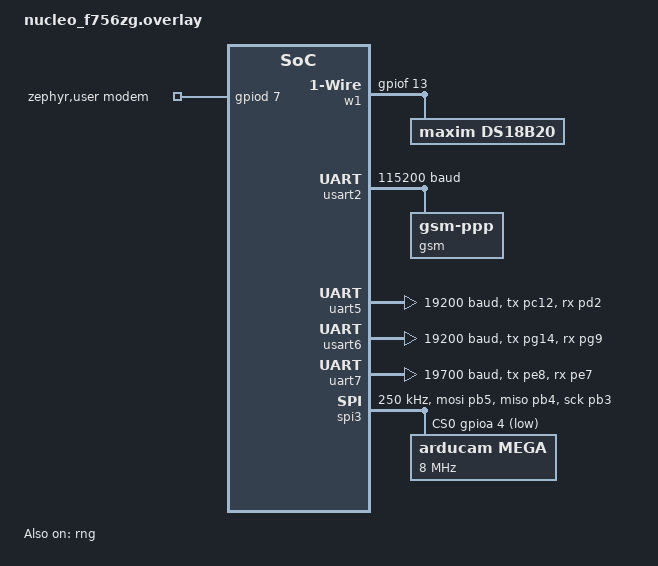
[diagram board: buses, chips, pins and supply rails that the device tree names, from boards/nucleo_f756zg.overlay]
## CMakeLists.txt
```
# SPDX-License-Identifier: Apache-2.0

cmake_minimum_required(VERSION 3.20.0)
find_package(Zephyr REQUIRED HINTS $ENV{ZEPHYR_BASE})
project(zapdos)

#include(${ZEPHYR_BASE}/samples/subsys/usb/common/common.cmake)
#include(./arducam/CMakeLists.txt)
file(GLOB_RECURSE app_sources src/*.c)
target_sources(app PRIVATE ${app_sources})
```

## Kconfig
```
source "$ZEPHYR_BASE/Kconfig"
menuconfig ARDUCAM_MEGA
	   bool "Arducam Mega camera for microcontrollers"
	   depends on SPI && GPIO
	   help
		Enable driver for Arducam Mega camera.
```

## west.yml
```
# Example T2 west.yml, using manifest imports.
manifest:
  remotes:
    - name: zephyrproject-rtos
      url-base: https://github.com/zephyrproject-rtos
    - name: mmuenn
      url-base: https://github.com/mmuenn
  projects:
    - name: zephyr
      remote: zephyrproject-rtos
      revision: main
      import: west.yml
    #- name: arducam-driver-zephyr
    #  remote: mmuenn
    #  revision: main
    #      path: app/arducam
  self:
    path: zapdos
```

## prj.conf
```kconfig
## USB CONSOLE
CONFIG_LOG=y
#CONFIG_USB_DEVICE_STACK=y
#CONFIG_USB_DEVICE_PRODUCT="Zephyr USB console sample"
#CONFIG_USB_DEVICE_PID=0x0004
#CONFIG_USB_DEVICE_INITIALIZE_AT_BOOT=n

#CONFIG_SERIAL=y
#CONFIG_CONSOLE=y
#CONFIG_UART_CONSOLE=y
#CONFIG_UART_LINE_CTRL=y
## Arducam
CONFIG_SPI=y
CONFIG_SPI_STM32_USE_HW_SS=n
CONFIG_GPIO=y
CONFIG_ARDUCAM_MEGA=y
CONFIG_BASE64=y
## Memory
CONFIG_HEAP_MEM_POOL_SIZE=8000
CONFIG_MAIN_STACK_SIZE=4096
CONFIG_REBOOT=y

# NETWORK
CONFIG_NETWORKING=y
CONFIG_TEST_RANDOM_GENERATOR=y

#CONFIG_NET_TX_STACK_SIZE=1024
#CONFIG_NET_RX_STACK_SIZE=1024
#CONFIG_POSIX_MAX_FDS=10
##CONFIG_NET_BUF_RX_COUNT=32
#CONFIG_NET_BUF_TX_COUNT=32
#CONFIG_NET_PKT_RX_COUNT=16
#CONFIG_NET_PKT_TX_COUNT=16

CONFIG_NET_MAX_CONTEXTS=4
CONFIG_NET_IPV4=y
CONFIG_NET_IPV6=n
CONFIG_NET_TCP=y
CONFIG_NET_LOG=y
CONFIG_INIT_STACKS=y
CONFIG_NET_STATISTICS=y
CONFIG_LOG_BACKEND_UART=n
CONFIG_NET_SOCKETS=y

## DNS
CONFIG_DNS_RESOLVER=y
CONFIG_DNS_SERVER_IP_ADDRESSES=y
CONFIG_DNS_SERVER1="8.8.8.8"
CONFIG_DNS_SERVER2="1.1.1.1"

## SNTP
CONFIG_SNTP=y
CONFIG_NET_CONFIG_CLOCK_SNTP_INIT=y
CONFIG_NET_CONFIG_SNTP_INIT_TIMEOUT=60000
CONFIG_NET_CONFIG_SNTP_INIT_SERVER="192.53.103.108"
CONFIG_SNTP_LOG_LEVEL_DBG=n
CONFIG_POSIX_CLOCK=y

## POSIX
CONFIG_REQUIRES_FULL_LIBC=y
CONFIG_POSIX_API=y
CONFIG_POSIX_MAX_FDS=8

## RTC
CONFIG_RTC=y
CONFIG_RTC_ALARM=y

## MQTT
CONFIG_MQTT_LIB=y
CONFIG_MQTT_LIB_TLS=y

# TLS configuration
CONFIG_MBEDTLS=y
CONFIG_MBEDTLS_BUILTIN=y
CONFIG_MBEDTLS_ENABLE_HEAP=y
CONFIG_MBEDTLS_HEAP_SIZE=32000
CONFIG_MBEDTLS_SSL_MAX_CONTENT_LEN=2048
CONFIG_NET_SOCKETS_SOCKOPT_TLS=y
CONFIG_NET_SOCKETS_TLS_MAX_CONTEXTS=4
CONFIG_NET_SOCKETS_ENABLE_DTLS=y
CONFIG_POSIX_MAX_FDS=8

## Shell features
CONFIG_MBEDTLS_SHELL=y
CONFIG_NET_SHELL=y
CONFIG_NET_L2_WIFI_SHELL=y
CONFIG_SHELL_LOG_BACKEND=y
CONFIG_W1_SHELL=y

## 1-Wire
CONFIG_SENSOR=y
CONFIG_W1=y
##CONFIG_W1_ZEPHYR_GPIO=y
CONFIG_DS18B20=y

CONFIG_ENTROPY_STM32_RNG=y

##########################################################MODEM
# UART support
CONFIG_SERIAL=y

# GSM modem support
CONFIG_MODEM=y
CONFIG_MODEM_SIM_NUMBERS=n
CONFIG_MODEM_GSM_PPP=y

# PPP networking support
CONFIG_NET_DRIVERS=y
CONFIG_NET_PPP=y
CONFIG_NET_L2_PPP=y
CONFIG_NET_NATIVE=y
CONFIG_NETWORKING=y
CONFIG_NET_L2_PPP_TIMEOUT=10000

# IPv4 enables PPP IPCP support
CONFIG_NET_IPV4=y
CONFIG_NET_IPV6=n

# Network management events
CONFIG_NET_CONNECTION_MANAGER=y

# Log buffers, modem and PPP
CONFIG_LOG=y
CONFIG_NET_LOG=y

CONFIG_MODEM_SHELL=y
CONFIG_NET_STATISTICS=y
CONFIG_TEST_RANDOM_GENERATOR=y
CONFIG_GSM_MUX=n
CONFIG_UART_MUX=n
CONFIG_MODEM_GSM_APN="internet"
CONFIG_MAIN_STACK_SIZE=8192
CONFIG_NET_MGMT_EVENT_INFO=y
CONFIG_NET_MGMT_EVENT_MONITOR=y
CONFIG_NET_MGMT_EVENT_MONITOR_AUTO_START=y
CONFIG_NET_LOG=y
CONFIG_NET_MGMT_EVENT_LOG_LEVEL_DBG=y
```

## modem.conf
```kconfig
# UART support
CONFIG_SERIAL=y

# GSM modem support
CONFIG_MODEM=y
CONFIG_MODEM_SIM_NUMBERS=n
CONFIG_MODEM_GSM_PPP=y

# PPP networking support
CONFIG_NET_DRIVERS=y
CONFIG_NET_PPP=y
CONFIG_NET_L2_PPP=y
CONFIG_NET_NATIVE=y
CONFIG_NETWORKING=y
CONFIG_NET_L2_PPP_TIMEOUT=10000

# IPv4 enables PPP IPCP support
CONFIG_NET_IPV4=y
CONFIG_NET_IPV6=n

# Network management events
CONFIG_NET_CONNECTION_MANAGER=y

# Log buffers, modem and PPP
CONFIG_LOG=y
CONFIG_NET_LOG=y

CONFIG_MODEM_SHELL=y
CONFIG_NET_STATISTICS=y
CONFIG_TEST_RANDOM_GENERATOR=y
CONFIG_GSM_MUX=n
CONFIG_UART_MUX=n
CONFIG_MODEM_GSM_APN="internet"
CONFIG_MAIN_STACK_SIZE=8192
CONFIG_NET_MGMT_EVENT_INFO=y
CONFIG_NET_MGMT_EVENT_MONITOR=y
CONFIG_NET_MGMT_EVENT_MONITOR_AUTO_START=y
CONFIG_NET_LOG=y
CONFIG_NET_MGMT_EVENT_LOG_LEVEL_DBG=y
```

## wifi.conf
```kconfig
# WIFI
CONFIG_WIFI=y
CONFIG_WIFI_ESP_AT=y
CONFIG_WIFI_ESP_AT_RESET_TIMEOUT=10000
CONFIG_WIFI_LOG_LEVEL_DBG=n
CONFIG_NET_IF_LOG_LEVEL_DBG=y
CONFIG_NET_STATISTICS_WIFI=y
CONFIG_NET_STATISTICS_PERIODIC_OUTPUT=y
CONFIG_NET_STATISTICS_USER_API=y
CONFIG_NET_DHCPV4=y
```

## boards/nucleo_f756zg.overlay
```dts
/* USE USART 3 FOR CONSOLE
 * 
 */
/ { 
    chosen {
      zephyr,console = &usart3;
      zephyr,shell-uart = &usart3;
    };
  };
/ { 
      zephyr,user {
          modem-gpios = <&gpiod 7 GPIO_ACTIVE_HIGH> ;
      };
  };
/*
 * USE USART2 FOR GSM MODEM
 */
&usart2 {
	status = "okay";
	current-speed = <115200>;
	gsm: gsm-modem {
		compatible = "zephyr,gsm-ppp";
	};
};
/*
 * FOR ESP WFI
 * &usart2 {
 * compatible = "st,stm32-uart";
 * status = "okay";
 * current-speed = <115200>;
 *   esp8266{
 *       compatible = "espressif,esp-at";
 *       external-reset;
 *       label = "esp8266";
 *       status = "okay";
 *   };
 * };
*/
&uart5 {
  pinctrl-0 = <&uart5_tx_pc12 &uart5_rx_pd2>;
  pinctrl-names = "default";
  current-speed = <19200>;
  status = "okay";
};
&usart6 {
  pinctrl-0 = <&usart6_tx_pg14 &usart6_rx_pg9>;
  pinctrl-names = "default";
  current-speed = <19200>;
  status = "okay";
};
&uart7 {
  pinctrl-0 = <&uart7_tx_pe8 &uart7_rx_pe7>;
  pinctrl-names = "default";
  current-speed = <19700>;
  status = "okay";
};
/*
 * WITHOUT HSE
 *&pll {
 *  clocks = < &clk_hsi >;
 *};
 *&clk_hsi{
 *status = "okay";
 *};
 *&clk_hse{
 *  status = "disabled";
 *};
*/



/ {
  w1: w1 {
    compatible = "zephyr,w1-gpio";
    gpios = <&gpiof 13 (GPIO_ACTIVE_HIGH | GPIO_OPEN_DRAIN)>;
    ds18b20 {
      compatible = "maxim,ds18b20";
      family-code = <0x28>;
      resolution = <12>;
      status = "okay";
    };
  };
};
&spi1{
  cs-gpios = <&gpiod 14 GPIO_ACTIVE_LOW>;
  clock-frequency = <8000000>;
  pinctrl-names = "default";
  pinctrl-0 = <&spi1_miso_pa6 &spi1_sck_pa5 &spi1_mosi_pa7 >;
  status = "disabled";
};
&spi3{
  clock-frequency = <250000>;
  cs-gpios = <&gpioa 4 GPIO_ACTIVE_LOW>;
  pinctrl-0 = <&spi3_mosi_pb5 &spi3_miso_pb4 &spi3_sck_pb3>;
  pinctrl-names = "default";
  status="okay";
  arducam: arducam_mega@0 {
    spi-max-frequency = <8000000>;
    compatible = "arducam,mega";
    reg = <0x0>;
  };
};
&rng {
  compatible = "st,stm32-rng";
  status = "okay";
};
&mac {
  compatible = "st,stm32-ethernet";
  status = "disabled";
};
```

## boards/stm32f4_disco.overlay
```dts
&usart1 {
  compatible = "st,stm32-uart";
  status = "okay";
  current-speed = <115200>;
    esp8266{
        compatible = "espressif,esp-at";
        external-reset;
        label = "esp8266";
        status = "okay";
	};
};
/ {
      w1: w1 {
                compatible = "zephyr,w1-gpio";
                gpios = <&gpioc 13 (GPIO_ACTIVE_HIGH | GPIO_OPEN_DRAIN)>;
                ds18b20 {
                  compatible = "maxim,ds18b20";
                  family-code = <0x28>;
                  resolution = <12>;
                  status = "okay";
                };
      };
};
```

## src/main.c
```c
// #include <stdio.h>
#include <string.h>
#include <sys/_stdint.h>
#include <zephyr/device.h>
#include <zephyr/drivers/sensor.h>
#include <zephyr/kernel.h>
#include <zephyr/logging/log.h>
#include <zephyr/sys/base64.h>
#include <zephyr/sys/printk.h>
#include <zephyr/sys/reboot.h>
#include <zephyr/sys/util.h>

#include "arducam_mega.h"
// #include "mm_config.h"
#include "devices/mm_ds18b20.h"
#include "net/mm_modem.h"
#include "net/mm_mqtt.h"
#include "net/mm_sntp.h"
// #include "net/mm_wifi.h"
#include "uart.h"
#include "zephyr/logging/log.h"
LOG_MODULE_REGISTER(main);

// Define Message queue for 10 Messages of size 1024 Byte
K_MSGQ_DEFINE(mqtt_msgq, sizeof(struct mqtt_payload), 10, 1);
// Define Heap for image Storage
K_HEAP_DEFINE(mqtt_heap, 140000);
void print_logo() {
  printk("\n");
  printk(" _   _ _______        ___  __\n");
  printk("| | | |_   _\\ \\      / / |/ /\n");
  printk("| |_| | | |  \\ \\ /\\ / /| ' / \n");
  printk("|  _  | | |   \\ V  V / | . \\ \n");
  printk("|_| |_| |_|    \\_/\\_/  |_|\\_\\\n");
  printk("\n");
  printk("__     _____ ____ _____ ____   ___  _   _   ____    __  __  ___ "
         "_____ _____ \n");
  printk("\\ \\   / /_ _/ ___|_   _|  _ \\ / _ \\| \\ | | |___ \\  |  \\/  |/ "
         "_ \\_   _|_   _|\n");
  printk(" \\ \\ / / | | |     | | | |_) | | | |  \\| |   __) | | |\\/| | | | "
         "|| |   | |  \n");
  printk("  \\ V /  | | |___  | | |  _ <| |_| | |\\  |  / __/  | |  | | |_| || "
         "|   | |  \n");
  printk("   \\_/  |___\\____| |_| |_| \\_\\\\___/|_| \\_| |_____| |_|  "
         "|_|\\__\\_\\|_|   |_|  \n");
  printk("\n");
}

void init_board() {
  modem_init();
  //  wifi_init();
  //  init_usb();
  arducam_mega_init();
  // arducam_mega_get_id();
  // arducam_mega_print_info();
  arducam_mega_set_brightness(CAM_BRIGHTNESS_LEVEL_DEFAULT);
  arducam_mega_set_contrast(CAM_CONTRAST_LEVEL_DEFAULT);
  // wait for modem to come up
  k_sleep(K_SECONDS(5));
  get_sntp_time_ip(SNTP_SERVER_IP);
}

int main(void) {
  struct mqtt_payload payload = {.data = NULL, .size = 0, .topic = ""};
  init_board();
  // Get thermometer dev
  const struct device *dev = get_ds18b20_device();
  //
  k_sleep(K_SECONDS(5));
  // Victron example
  char buff[512];
  uart_main(buff, 512);
  printk("%s", buff);
  payload.data = buff;
  payload.size = strlen(buff);
  payload.topic = "victron";
  k_sleep(K_SECONDS(1));
  k_msgq_put(&mqtt_msgq, &payload, K_FOREVER);
  run_mqtt(&mqtt_msgq);
  printk("init done \n");
  printk("taking image\n");
  k_sleep(K_MSEC(300));
  int img_size = 0;
  img_size =
      arducam_mega_capture_image(CAM_IMAGE_MODE_HD, CAM_IMAGE_PIX_FMT_JPG);
  printk("took image %d bytes\n", img_size);
  uint8_t *buf = k_heap_alloc(&mqtt_heap, img_size, K_FOREVER);
  if (buf == NULL) {
    LOG_ERR("Error allocating Memory\n");
  }
  for (int i = 0; i < (img_size); i++) {
    buf[i] = camera_read_byte();
  };
  printk("fetched raw image\n");
  // optional: bas64 encode image
  /*size_t dlen = 0;
  size_t olen = 0;
  int b64_ret = base64_encode(NULL, dlen, &olen, buf, img_size);
  printk("Encoded string needs %d bytes\n", olen);
  // set new destination size to what would be needed for the b64 encoded string
  dlen = olen;
  uint8_t *b64_buf = k_heap_alloc(&img_heap, olen, K_FOREVER);
  // encode to b64_buf
  b64_ret = base64_encode(b64_buf, dlen, &olen, buf, img_size);
  printk("Error code: %d", b64_ret);
  struct mqtt_payload payload = {
      .data = b64_buf, .size = olen, .topic = "image__1234"};
 */
  k_msgq_put(&mqtt_msgq, &payload, K_FOREVER);
  run_mqtt(&mqtt_msgq);
  k_heap_free(&mqtt_heap, payload.data);

  // fetch temperature data
  struct sensor_value temp;
  sensor_sample_fetch(dev);
  sensor_channel_get(dev, SENSOR_CHAN_AMBIENT_TEMP, &temp);
  char temp_string[32];
  sprintf(temp_string, "{\n\"temperature\": %d.%d\n}", temp.val1, temp.val2);
  payload.data = temp_string;
  payload.size = strlen(temp_string);
  payload.topic = "temperature";

  k_msgq_put(&mqtt_msgq, &payload, K_FOREVER);
  run_mqtt(&mqtt_msgq);

  k_sleep(K_SECONDS(1));

  // Reboot
  printk("rebooting in 15 minutes\n");
  k_sleep(K_MINUTES(15));
  sys_reboot(SYS_REBOOT_COLD);
}
```

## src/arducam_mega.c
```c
/* MIT License */

/* Copyright (c) [year] [fullname] */

/* Permission is hereby granted, free of charge, to any person obtaining a copy
 */
/* of this software and associated documentation files (the "Software"), to deal
 */
/* in the Software without restriction, including without limitation the rights
 */
/* to use, copy, modify, merge, publish, distribute, sublicense, and/or sell */
/* copies of the Software, and to permit persons to whom the Software is */
/* furnished to do so, subject to the following conditions: */

/* The above copyright notice and this permission notice shall be included in
 * all */
/* copies or substantial portions of the Software. */

/* THE SOFTWARE IS PROVIDED "AS IS", WITHOUT WARRANTY OF ANY KIND, EXPRESS OR */
/* IMPLIED, INCLUDING BUT NOT LIMITED TO THE WARRANTIES OF MERCHANTABILITY, */
/* FITNESS FOR A PARTICULAR PURPOSE AND NONINFRINGEMENT. IN NO EVENT SHALL THE
 */
/* AUTHORS OR COPYRIGHT HOLDERS BE LIABLE FOR ANY CLAIM, DAMAGES OR OTHER */
/* LIABILITY, WHETHER IN AN ACTION OF CONTRACT, TORT OR OTHERWISE, ARISING FROM,
 */
/* OUT OF OR IN CONNECTION WITH THE SOFTWARE OR THE USE OR OTHER DEALINGS IN THE
 */
/* SOFTWARE. */

#include "arducam_mega.h"
#include <zephyr/device.h>
#include <zephyr/drivers/spi.h>
#include <zephyr/fs/fs.h>
#include <zephyr/internal/syscall_handler.h>
#include <zephyr/logging/log.h>
#include <zephyr/sys/printk.h>
#include <zephyr/types.h>

#define LOG_MODULE_NAME arducam_mega
LOG_MODULE_REGISTER(LOG_MODULE_NAME);
#define MAX_PATH 51200
#define CONCAT_BUFF_LEN 30
#define BUFFER_SIZE 0xff

int received_length;

#define SPI_DEV spi3

#define SPI_DEV_NAME DEVICE_DT_NAME(DT_NODELABEL(SPI_DEV))
struct spi_config spi_cfg = {
    .frequency = DT_PROP(DT_NODELABEL(SPI_DEV), clock_frequency),
    .operation = SPI_HOLD_ON_CS | SPI_OP_MODE_MASTER | SPI_TRANSFER_MSB |
                 SPI_WORD_SET(8) | SPI_LINES_SINGLE,
    .cs = SPI_CS_CONTROL_INIT(DT_NODELABEL(arducam), 0u),
    .slave = 0,
};

const struct device *spi;

uint8_t camera_bus_read(uint8_t address) {
  int ret;
  uint8_t txbuffer[3] = {address, 0, 0};
  uint8_t rxbuffer[3] = {0, 0, 0};
  struct spi_buf spi_rx_buf[1];
  spi_rx_buf[0].buf = rxbuffer;
  spi_rx_buf[0].len = 3;
  struct spi_buf spi_tx_buf[1];
  spi_tx_buf[0].buf = txbuffer;
  spi_tx_buf[0].len = 3;
  const struct spi_buf_set rx_bufs = {spi_rx_buf, 1};
  const struct spi_buf_set tx_bufs = {spi_tx_buf, 1};
  spi_cfg.operation |= SPI_HOLD_ON_CS;
  spi_cfg.operation |= SPI_LOCK_ON;
  ret = spi_transceive(spi, &spi_cfg, &tx_bufs, &rx_bufs);
  spi_release(spi, &spi_cfg);
  return rxbuffer[2];
}

uint8_t camera_read_reg(uint8_t addr) { return camera_bus_read(addr & 0x7F); }

uint8_t camera_bus_write(uint8_t address, uint8_t value) {

  struct spi_buf tx_buf[2];
  tx_buf[0].buf = &address;
  tx_buf[0].len = 1;
  tx_buf[1].buf = &value;
  tx_buf[1].len = 1;
  struct spi_buf_set tx_bufs = {.buffers = tx_buf, .count = 2};
  spi_cfg.operation |= SPI_HOLD_ON_CS;
  spi_cfg.operation |= SPI_LOCK_ON;
  spi_write(spi, &spi_cfg, &tx_bufs);
  k_sleep(K_MSEC(1));
  spi_release(spi, &spi_cfg);
  return 1;
}
void camera_write_reg(uint8_t addr, uint8_t val) {
  camera_bus_write(addr | 0x80, val);
}

void camera_wait_idle() {
  while ((camera_read_reg(CAM_REG_SENSOR_STATE) & 0x03) !=
         CAM_REG_SENSOR_STATE_IDLE) {
    k_sleep(K_MSEC(2));
  }
}

uint8_t camera_get_bit(uint8_t addr, uint8_t bit) {
  uint8_t temp;
  temp = camera_read_reg(addr);
  temp = temp & bit;
  return temp;
}

uint8_t camera_read_byte() { return camera_bus_read(SINGLE_FIFO_READ); }

void camera_save_fifo(const char *base_path, uint32_t length, char *filename) {

  uint8_t imageData = 0, imageDataNext = 0, headFlag = 0;
  unsigned int i = 0;
  uint8_t imageBuff[BUFFER_SIZE] = {0};
  int ret;
  uint8_t sd_write_counts = 0;
  uint8_t file_opened = 0;

  received_length = length;
  char path[MAX_PATH];
  struct fs_file_t file;
  int base = strlen(base_path);

  fs_file_t_init(&file);

  if (base >= (sizeof(path) - CONCAT_BUFF_LEN)) {
    LOG_ERR("Not enough concatenation buffer to create file paths");
    return;
  }

  strncpy(path, base_path, sizeof(path));

  path[base++] = '/';
  path[base] = 0;
  strcat(&path[base], filename);
  while (received_length) {
    imageData = imageDataNext;
    imageDataNext = camera_read_byte();
    if (headFlag == 1) {
      imageBuff[i++] = imageDataNext;
      if (i >= BUFFER_SIZE) {
        ret = fs_write(&file, imageBuff, i);
        sd_write_counts++;
        i = 0;
      }
    }
    if (imageData == 0xff && imageDataNext == 0xd8 && file_opened == 0) {
      ret = fs_open(&file, path, FS_O_CREATE | FS_O_WRITE | FS_O_APPEND);
      if (ret != 0) {
        LOG_ERR("Failed to create file %s %d", path, ret);
        return;
      }
      LOG_INF("Opened file successfully\n");
      file_opened = 1;
      headFlag = 1;
      imageBuff[i++] = imageData;
      imageBuff[i++] = imageDataNext;
    }
    if (imageData == 0xff && imageDataNext == 0xd9) {
      headFlag = 0;
      LOG_INF("Closed file with sd_write_counts %d\n", sd_write_counts);
      fs_write(&file, imageBuff, i);

      fs_close(&file);
      i = 0;
      break;
    }
  }
}

int arducam_mega_capture_image(CAM_IMAGE_MODE mode,
                               CAM_IMAGE_PIX_FMT pixel_format) {

  camera_write_reg(CAM_REG_SENSOR_RESET, CAM_SENSOR_RESET_ENABLE);
  camera_wait_idle();
  printk("first wait done\n");
  // camera_write_reg(0x04, 0x01);
  // camera_write_reg(0x04, 0x02);
  printk("wrote to 0x04 reg\n");
  k_sleep(K_MSEC(600));
  printk("wait for idle\n");
  camera_wait_idle();

  printk("seting format jpg");
  /* Set format JPG */
  camera_write_reg(CAM_REG_FORMAT,
                   CAM_IMAGE_PIX_FMT_JPG); // set the data format
  camera_wait_idle();                      // Wait I2c Idle

  /* Set capture resolution */
  camera_write_reg(CAM_REG_CAPTURE_RESOLUTION, CAM_SET_CAPTURE_MODE | mode);
  camera_wait_idle(); // Wait I2c Idle
  printk("set mode\n");

  /* Clear fifo flags */

  camera_write_reg(ARDUCHIP_FIFO, FIFO_CLEAR_ID_MASK);
  /* Start capture */
  camera_write_reg(ARDUCHIP_FIFO, FIFO_START_MASK);

  while (camera_get_bit(ARDUCHIP_TRIG, CAP_DONE_MASK) == 0)
    ;
  uint32_t len1, len2, len3, length = 0;
  len1 = camera_read_reg(FIFO_SIZE1);
  len2 = camera_read_reg(FIFO_SIZE2);
  len3 = camera_read_reg(FIFO_SIZE3);
  length = ((len3 << 16) | (len2 << 8) | len1) & 0xffffff;
  LOG_INF("Image length is %d\n", length);
  return length;
}
int arducam_mega_save_image(char *filename, const char *mount_point,
                            int image_length) {
  LOG_INF("Saving image\n");
  camera_save_fifo(mount_point, image_length, filename);
  return 0;
}

int arducam_mega_get_id() {
  uint8_t cameraID;
  cameraID = camera_read_reg(CAM_REG_SENSOR_ID);
  LOG_INF("Sensor camera ID is %x\n", cameraID);
  return cameraID;
}

int arducam_mega_init() {
  LOG_INF("Initializing the camera");
  spi = device_get_binding(SPI_DEV_NAME);

  if (!device_is_ready(spi)) {
    LOG_ERR("Device SPI not ready, aborting test");
    return -1;
  }
  printk("SPI CS is gpio: %d\n", spi_cs_is_gpio(&spi_cfg));
  printk("SPI CS address: %x\n", (uint32_t) & (spi_cfg.cs));
  printk("SPI CS pin %d\n", spi_cfg.cs.gpio.pin);
  printk("SPI CS delay %d\n", spi_cfg.cs.delay);
  printk("SPI clock: %d\n", spi_cfg.frequency);
  return 0;
}
CAM_IMAGE_MODE arducam_mega_get_resolution(char *resolution) {
  if (strcmp(resolution, "2592x1944") == 0) {
    return CAM_IMAGE_MODE_WQXGA2;
  } else if (strcmp(resolution, "1920x1080") == 0) {
    return CAM_IMAGE_MODE_FHD;
  } else if (strcmp(resolution, "1600x1200") == 0) {
    return CAM_IMAGE_MODE_UXGA;
  } else if (strcmp(resolution, "1280x720") == 0) {
    return CAM_IMAGE_MODE_HD;
  } else if (strcmp(resolution, "640x480") == 0) {
    return CAM_IMAGE_MODE_VGA;
  } else if (strcmp(resolution, "320x240") == 0) {
    return CAM_IMAGE_MODE_QVGA;
  } else if (strcmp(resolution, "320x320") == 0) {
    return CAM_IMAGE_MODE_320X320;
  } else if (strcmp(resolution, "128x128") == 0) {
    return CAM_IMAGE_MODE_128X128;
  } else if (strcmp(resolution, "96x96") == 0) {
    return CAM_IMAGE_MODE_96X96;
  }
  /* Default to highest res if value is missing/malformed */
  return CAM_IMAGE_MODE_WQXGA2;
}

CAM_SATURATION_LEVEL arducam_mega_get_saturation(char *saturation) {
  saturation = saturation + 2;
  saturation[strlen(saturation) - 1] = '\0';

  if (strcmp(saturation, "-3") == 0) {
    return CAM_SATURATION_LEVEL_MINUS_3;
  } else if (strcmp(saturation, "-2") == 0) {
    return CAM_SATURATION_LEVEL_MINUS_2;
  } else if (strcmp(saturation, "-1") == 0) {
    return CAM_SATURATION_LEVEL_MINUS_1;
  } else if (strcmp(saturation, "0") == 0) {
    return CAM_SATURATION_LEVEL_DEFAULT;
  } else if (strcmp(saturation, "1") == 0) {
    return CAM_SATURATION_LEVEL_1;
  } else if (strcmp(saturation, "2") == 0) {
    return CAM_SATURATION_LEVEL_2;
  } else if (strcmp(saturation, "3") == 0) {
    return CAM_SATURATION_LEVEL_3;
  }
  /* Return default if string malformed */
  return CAM_SATURATION_LEVEL_DEFAULT;
}

CAM_BRIGHTNESS_LEVEL arducam_mega_get_brightness(char *brightness) {
  brightness = brightness + 2;
  brightness[strlen(brightness) - 1] = '\0';
  if (strcmp(brightness, "-4") == 0) {
    return CAM_BRIGHTNESS_LEVEL_MINUS_4;
  } else if (strcmp(brightness, "-3") == 0) {
    return CAM_BRIGHTNESS_LEVEL_MINUS_3;
  } else if (strcmp(brightness, "-2") == 0) {
    return CAM_BRIGHTNESS_LEVEL_MINUS_2;
  } else if (strcmp(brightness, "-1") == 0) {
    return CAM_BRIGHTNESS_LEVEL_MINUS_1;
  } else if (strcmp(brightness, "0") == 0) {
    return CAM_BRIGHTNESS_LEVEL_DEFAULT;
  } else if (strcmp(brightness, "1") == 0) {
    return CAM_BRIGHTNESS_LEVEL_1;
  } else if (strcmp(brightness, "2") == 0) {
    return CAM_BRIGHTNESS_LEVEL_2;
  } else if (strcmp(brightness, "3") == 0) {
    return CAM_BRIGHTNESS_LEVEL_3;
  } else if (strcmp(brightness, "4") == 0) {
    return CAM_BRIGHTNESS_LEVEL_4;
  }
  /* Return default if string malformed */
  return CAM_BRIGHTNESS_LEVEL_DEFAULT;
}

CAM_CONTRAST_LEVEL arducam_mega_get_contrast(char *contrast) {
  contrast = contrast + 2;
  contrast[strlen(contrast) - 1] = '\0';

  if (strcmp(contrast, "-3") == 0) {
    return CAM_CONTRAST_LEVEL_MINUS_3;
  } else if (strcmp(contrast, "-2") == 0) {
    return CAM_CONTRAST_LEVEL_MINUS_2;
  } else if (strcmp(contrast, "-1") == 0) {
    return CAM_CONTRAST_LEVEL_MINUS_1;
  } else if (strcmp(contrast, "0") == 0) {
    return CAM_CONTRAST_LEVEL_DEFAULT;
  } else if (strcmp(contrast, "1") == 0) {
    return CAM_CONTRAST_LEVEL_1;
  } else if (strcmp(contrast, "2") == 0) {
    return CAM_CONTRAST_LEVEL_2;
  } else if (strcmp(contrast, "3") == 0) {
    return CAM_CONTRAST_LEVEL_3;
  }
  /* Return default if string malformed */
  return CAM_CONTRAST_LEVEL_DEFAULT;
}

int arducam_mega_set_saturation(CAM_SATURATION_LEVEL saturation) {
  LOG_INF("Setting saturation to %d", saturation);
  camera_write_reg(CAM_REG_SATURATION_CONTROL, saturation);
  camera_wait_idle();
  return 0;
}

int arducam_mega_set_autofocus(CAM_AUTO_FOCUS autofocus) {
  LOG_INF("Setting autofocus to %d", autofocus);
  camera_write_reg(CAM_REG_AUTO_FOCUS_CONTROL, autofocus);
  camera_wait_idle();
  return 0;
}

int arducam_mega_set_contrast(CAM_CONTRAST_LEVEL contrast) {
  LOG_INF("Setting contrast to %d", contrast);
  camera_write_reg(CAM_REG_CONTRAST_CONTROL, contrast);
  camera_wait_idle();
  return 0;
}

int arducam_mega_set_brightness(CAM_BRIGHTNESS_LEVEL brightness) {
  LOG_INF("Setting brightness to %d", brightness);
  camera_write_reg(CAM_REG_BRIGHTNESS_CONTROL, brightness);
  camera_wait_idle();
  return 0;
}

int arducam_mega_print_info() {
  char month = camera_read_reg(CAM_REG_MONTH_ID);
  char day = camera_read_reg(CAM_REG_DAY_ID);
  char year = camera_read_reg(CAM_REG_YEAR_ID);
  printk("month: %d\n", month);
  printk("day: %d\n", day);
  printk("year: %d\n", year);
  return 0;
}
```

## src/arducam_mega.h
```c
/* MIT License */

/* Copyright (c) [year] [fullname] */

/* Permission is hereby granted, free of charge, to any person obtaining a copy
 */
/* of this software and associated documentation files (the "Software"), to deal
 */
/* in the Software without restriction, including without limitation the rights
 */
/* to use, copy, modify, merge, publish, distribute, sublicense, and/or sell */
/* copies of the Software, and to permit persons to whom the Software is */
/* furnished to do so, subject to the following conditions: */

/* The above copyright notice and this permission notice shall be included in
 * all */
/* copies or substantial portions of the Software. */

/* THE SOFTWARE IS PROVIDED "AS IS", WITHOUT WARRANTY OF ANY KIND, EXPRESS OR */
/* IMPLIED, INCLUDING BUT NOT LIMITED TO THE WARRANTIES OF MERCHANTABILITY, */
/* FITNESS FOR A PARTICULAR PURPOSE AND NONINFRINGEMENT. IN NO EVENT SHALL THE
 */
/* AUTHORS OR COPYRIGHT HOLDERS BE LIABLE FOR ANY CLAIM, DAMAGES OR OTHER */
/* LIABILITY, WHETHER IN AN ACTION OF CONTRACT, TORT OR OTHERWISE, ARISING FROM,
 */
/* OUT OF OR IN CONNECTION WITH THE SOFTWARE OR THE USE OR OTHER DEALINGS IN THE
 */
/* SOFTWARE. */

#ifndef __ARDUCAM_MEGA_H__
#define __ARDUCAM_MEGA_H__

#include <zephyr/device.h>
#include <zephyr/drivers/gpio.h>
#include <zephyr/drivers/spi.h>

#define ARDUCHIP_FRAMES 0x01
#define ARDUCHIP_TEST1 0x00  // TEST register
#define ARDUCHIP_FIFO 0x04   // FIFO and I2C control
#define ARDUCHIP_FIFO_2 0x07 // FIFO and I2C control
#define FIFO_CLEAR_MASK 0x80
#define FIFO_CLEAR_ID_MASK 0x01
#define FIFO_START_MASK 0x02
#define FIFO_RDPTR_RST_MASK 0x10
#define FIFO_WRPTR_RST_MASK 0x20

#define ARDUCHIP_TRIG 0x44 // Trigger source
#define VSYNC_MASK 0x01
#define SHUTTER_MASK 0x02
#define CAP_DONE_MASK 0x04

#define FIFO_SIZE1 0x45 // Camera write FIFO size[7:0] for burst to read
#define FIFO_SIZE2 0x46 // Camera write FIFO size[15:8]
#define FIFO_SIZE3 0x47 // Camera write FIFO size[18:16]

#define BURST_FIFO_READ 0x3C  // Burst FIFO read operation
#define SINGLE_FIFO_READ 0x3D // Single FIFO read operation

#define BUF_MAX_LENGTH 255

#define CAPRURE_MAX_NUM 0xff

#define CAM_REG_POWER_CONTROL 0X02
#define CAM_REG_SENSOR_RESET 0X07
#define CAM_REG_FORMAT 0X20
#define CAM_REG_CAPTURE_RESOLUTION 0X21
#define CAM_REG_BRIGHTNESS_CONTROL 0X22
#define CAM_REG_CONTRAST_CONTROL 0X23
#define CAM_REG_SATURATION_CONTROL 0X24
#define CAM_REG_EV_CONTROL 0X25
#define CAM_REG_WHILEBALANCE_MODE_CONTROL 0X26
#define CAM_REG_COLOR_EFFECT_CONTROL 0X27
#define CAM_REG_SHARPNESS_CONTROL 0X28
#define CAM_REG_AUTO_FOCUS_CONTROL 0X29
#define CAM_REG_EXPOSURE_GAIN_WHILEBALANCE_CONTROL 0X2A
#define CAM_REG_MANUAL_GAIN_BIT_9_8 0X2B
#define CAM_REG_MANUAL_GAIN_BIT_7_0 0X2C
#define CAM_REG_MANUAL_EXPOSURE_BIT_19_16 0X2D
#define CAM_REG_MANUAL_EXPOSURE_BIT_15_8 0X2E
#define CAM_REG_MANUAL_EXPOSURE_BIT_7_0 0X2F
#define CAM_REG_SENSOR_ID 0x40
#define CAM_REG_YEAR_ID 0x41
#define CAM_REG_MONTH_ID 0x42
#define CAM_REG_DAY_ID 0x43
#define CAM_REG_SENSOR_STATE 0x44
#define CAM_REG_DEBUG_DEVICE_ADDRESS 0X0A
#define CAM_REG_DEBUG_REGISTER_HIGH 0X0B
#define CAM_REG_DEBUG_REGISTER_LOW 0X0C
#define CAM_REG_DEBUG_REGISTER_VALUE 0X0D

#define CAM_REG_SENSOR_STATE_IDLE (1 << 1)
#define CAM_SENSOR_RESET_ENABLE (1 << 6)
#define CAM_FORMAT_BASICS (0 << 0)
#define CAM_SET_CAPTURE_MODE (0 << 7)
#define CAM_SET_VIDEO_MODE (1 << 7)

#define SET_WHILEBALANCE 0X02
#define SET_EXPOSURE 0X01
#define SET_GAIN 0X00

#define CAMERA_TYPE_NUMBER 2

#define CAMERA_OV5640 0
#define CAMERA_OV3640 1

#define FORMAT_JPEG 0X01
#define FORMAT_RGB 0X02
#define FORMAT_YUV 0X03

#define RESOLUTION_160X120 (1 << 0)
#define RESOLUTION_320X240 (1 << 1)
#define RESOLUTION_640X480 (1 << 2)
#define RESOLUTION_800X600 (1 << 3)
#define RESOLUTION_1280X720 (1 << 4)
#define RESOLUTION_1280X960 (1 << 5)
#define RESOLUTION_1600X1200 (1 << 6)
#define RESOLUTION_1920X1080 (1 << 7)
#define RESOLUTION_2048X1536 (1 << 8)
#define RESOLUTION_2592X1944 (1 << 9)
#define RESOLUTION_320x320 (1 << 10)
#define RESOLUTION_128x128 (1 << 11)
#define RESOLUTION_96x96 (1 << 12)

#define SPECIAL_NORMAL (0 << 0)
#define SPECIAL_BLUEISH (1 << 0)
#define SPECIAL_REDISH (1 << 1)
#define SPECIAL_BW (1 << 2)
#define SPECIAL_SEPIA (1 << 3)
#define SPECIAL_NEGATIVE (1 << 4)
#define SPECIAL_GREENISH (1 << 5)
#define SPECIAL_YELLOWISH (1 << 8)

/**
 * @enum CamStatus
 * @brief Camera status
 */
typedef enum {
  CAM_ERR_SUCCESS = 0,      /**<Operation succeeded*/
  CAM_ERR_NO_CALLBACK = -1, /**< No callback function is registered*/
} CamStatus;

/**
 * @enum CAM_IMAGE_MODE
 * @brief Configure camera resolution
 */
typedef enum {
  CAM_IMAGE_MODE_QQVGA = 0x00,   /**<160x120 */
  CAM_IMAGE_MODE_QVGA = 0x01,    /**<320x240*/
  CAM_IMAGE_MODE_VGA = 0x02,     /**<640x480*/
  CAM_IMAGE_MODE_SVGA = 0x03,    /**<800x600*/
  CAM_IMAGE_MODE_HD = 0x04,      /**<1280x720*/
  CAM_IMAGE_MODE_SXGAM = 0x05,   /**<1280x960*/
  CAM_IMAGE_MODE_UXGA = 0x06,    /**<1600x1200*/
  CAM_IMAGE_MODE_FHD = 0x07,     /**<1920x1080*/
  CAM_IMAGE_MODE_QXGA = 0x08,    /**<2048x1536*/
  CAM_IMAGE_MODE_WQXGA2 = 0x09,  /**<2592x1944*/
  CAM_IMAGE_MODE_96X96 = 0x0a,   /**<96x96*/
                                 /// @cond
  CAM_IMAGE_MODE_128X128 = 0x0b, /**<128x128*/
  CAM_IMAGE_MODE_320X320 = 0x0c, /**<320x320*/
  CAM_IMAGE_MODE_12 = 0x0d,      /**<Reserve*/
  CAM_IMAGE_MODE_13 = 0x0e,      /**<Reserve*/
  CAM_IMAGE_MODE_14 = 0x0f,      /**<Reserve*/
  CAM_IMAGE_MODE_15 = 0x10,      /**<Reserve*/
                                 /// @endcond
} CAM_IMAGE_MODE;

/**
 * @enum CAM_CONTRAST_LEVEL
 * @brief Configure camera contrast level
 */
typedef enum {
  CAM_CONTRAST_LEVEL_MINUS_3 = 6, /**<Level -3 */
  CAM_CONTRAST_LEVEL_MINUS_2 = 4, /**<Level -2 */
  CAM_CONTRAST_LEVEL_MINUS_1 = 2, /**<Level -1 */
  CAM_CONTRAST_LEVEL_DEFAULT = 0, /**<Level Default*/
  CAM_CONTRAST_LEVEL_1 = 1,       /**<Level +1 */
  CAM_CONTRAST_LEVEL_2 = 3,       /**<Level +2 */
  CAM_CONTRAST_LEVEL_3 = 5,       /**<Level +3 */
} CAM_CONTRAST_LEVEL;

/**
 * @enum CAM_EV_LEVEL
 * @brief Configure camera EV level
 */
typedef enum {
  CAM_EV_LEVEL_MINUS_3 = 6, /**<Level -3 */
  CAM_EV_LEVEL_MINUS_2 = 4, /**<Level -2 */
  CAM_EV_LEVEL_MINUS_1 = 2, /**<Level -1 */
  CAM_EV_LEVEL_DEFAULT = 0, /**<Level Default*/
  CAM_EV_LEVEL_1 = 1,       /**<Level +1 */
  CAM_EV_LEVEL_2 = 3,       /**<Level +2 */
  CAM_EV_LEVEL_3 = 5,       /**<Level +3 */
} CAM_EV_LEVEL;

/**
 * @enum CAM_SATURATION_LEVEL
 * @brief Configure camera saturation  level
 */
typedef enum {
  CAM_SATURATION_LEVEL_MINUS_3 = 6, /**<Level -3 */
  CAM_SATURATION_LEVEL_MINUS_2 = 4, /**<Level -2 */
  CAM_SATURATION_LEVEL_MINUS_1 = 2, /**<Level -1 */
  CAM_SATURATION_LEVEL_DEFAULT = 0, /**<Level Default*/
  CAM_SATURATION_LEVEL_1 = 1,       /**<Level +1 */
  CAM_SATURATION_LEVEL_2 = 3,       /**<Level +2 */
  CAM_SATURATION_LEVEL_3 = 5,       /**<Level +3 */
} CAM_SATURATION_LEVEL;

/**
 * @enum CAM_BRIGHTNESS_LEVEL
 * @brief Configure camera brightness level
 */
typedef enum {
  CAM_BRIGHTNESS_LEVEL_MINUS_4 = 8, /**<Level -4 */
  CAM_BRIGHTNESS_LEVEL_MINUS_3 = 6, /**<Level -3 */
  CAM_BRIGHTNESS_LEVEL_MINUS_2 = 4, /**<Level -2 */
  CAM_BRIGHTNESS_LEVEL_MINUS_1 = 2, /**<Level -1 */
  CAM_BRIGHTNESS_LEVEL_DEFAULT = 0, /**<Level Default*/
  CAM_BRIGHTNESS_LEVEL_1 = 1,       /**<Level +1 */
  CAM_BRIGHTNESS_LEVEL_2 = 3,       /**<Level +2 */
  CAM_BRIGHTNESS_LEVEL_3 = 5,       /**<Level +3 */
  CAM_BRIGHTNESS_LEVEL_4 = 7,       /**<Level +4 */
} CAM_BRIGHTNESS_LEVEL;

/**
 * @enum CAM_SHARPNESS_LEVEL
 * @brief Configure camera Sharpness level
 */
typedef enum {
  CAM_SHARPNESS_LEVEL_AUTO = 0, /**<Sharpness Auto */
  CAM_SHARPNESS_LEVEL_1,        /**<Sharpness Level 1 */
  CAM_SHARPNESS_LEVEL_2,        /**<Sharpness Level 2 */
  CAM_SHARPNESS_LEVEL_3,        /**<Sharpness Level 3 */
  CAM_SHARPNESS_LEVEL_4,        /**<Sharpness Level 4 */
  CAM_SHARPNESS_LEVEL_5,        /**<Sharpness Level 5 */
  CAM_SHARPNESS_LEVEL_6,        /**<Sharpness Level 6 */
  CAM_SHARPNESS_LEVEL_7,        /**<Sharpness Level 7 */
  CAM_SHARPNESS_LEVEL_8,        /**<Sharpness Level 8 */
} CAM_SHARPNESS_LEVEL;

/**
 * @enum CAM_VIDEO_MODE
 * @brief Configure resolution in video streaming mode
 */
typedef enum {
  CAM_VIDEO_MODE_0 = 1, /**< 320x240 */
  CAM_VIDEO_MODE_1 = 2, /**< 640x480 */
} CAM_VIDEO_MODE;

/**
 * @enum CAM_IMAGE_PIX_FMT
 * @brief Configure image pixel format
 */
typedef enum {
  CAM_IMAGE_PIX_FMT_RGB565 = 0x02, /**< RGB565 format */
  CAM_IMAGE_PIX_FMT_JPG = 0x01,    /**< JPEG format */
  CAM_IMAGE_PIX_FMT_YUV = 0x03,    /**< YUV format */
  CAM_IMAGE_PIX_FMT_NONE,          /**< No defined format */
} CAM_IMAGE_PIX_FMT;

/**
 * @enum CAM_WHITE_BALANCE
 * @brief Configure white balance mode
 */
typedef enum {
  CAM_WHITE_BALANCE_MODE_DEFAULT = 0, /**< Auto */
  CAM_WHITE_BALANCE_MODE_SUNNY,       /**< Sunny */
  CAM_WHITE_BALANCE_MODE_OFFICE,      /**< Office */
  CAM_WHITE_BALANCE_MODE_CLOUDY,      /**< Cloudy*/
  CAM_WHITE_BALANCE_MODE_HOME,        /**< Home */
} CAM_WHITE_BALANCE;

/**
 * @enum CAM_COLOR_FX
 * @brief Configure special effects
 */
typedef enum {
  CAM_COLOR_FX_NONE = 0,      /**< no effect   */
  CAM_COLOR_FX_BLUEISH,       /**< cool light   */
  CAM_COLOR_FX_REDISH,        /**< warm   */
  CAM_COLOR_FX_BW,            /**< Black/white   */
  CAM_COLOR_FX_SEPIA,         /**<Sepia   */
  CAM_COLOR_FX_NEGATIVE,      /**<positive/negative inversion  */
  CAM_COLOR_FX_GRASS_GREEN,   /**<Grass green */
  CAM_COLOR_FX_OVER_EXPOSURE, /**<Over exposure*/
  CAM_COLOR_FX_SOLARIZE,      /**< Solarize   */
  CAM_COLOR_FX_YELLOWISH,
} CAM_COLOR_FX;

/**
 * @enum CAM_AUTO_FOCUS
 * @brief Configure auto focus mode
 */
typedef enum {
  CAM_AUTO_FOCUS_DEFAULT =
      0,                 /**< default configuration; continuous auto focus */
  CAM_AUTO_FOCUS_SINGLE, /**< single auto focus   */
  CAM_AUTO_FOCUS_CONTINUOUS, /**< continuous auto focus   */
  CAM_AUTO_FOCUS_PAUSE,      /**< pause continuous auto focus   */
  CAM_AUTO_FOCUS_DISABLE,    /**< disable auto focus  */
} CAM_AUTO_FOCUS;

typedef uint8_t (*BUFFER_CALLBACK)(
    uint8_t *buffer, uint8_t lenght); /**<Callback function prototype  */

struct camera_info {
  char *cameraId;            /**<Model of camera module */
  int supportResolution;     /**<Resolution supported by the camera module */
  int supportSpecialEffects; /**<Special effects supported by the camera module
                              */
  unsigned long exposureValueMax; /**<Maximum exposure time supported by the
                                     camera module */
  unsigned int exposureValueMin;  /**<Minimum exposure time supported by the
                                     camera module */
  unsigned int gainValueMax; /**<Maximum gain supported by the camera module */
  unsigned int gainValueMin; /**<Minimum gain supported by the camera module */
  unsigned char
      supportFocus; /**<Does the camera module support the focus function */
  unsigned char supportSharpness; /**<Does the camera module support the
                                     sharpening function */
  unsigned char deviceAddress;
};

struct arducam_mega_data {
  uint32_t totalLength;    /**< The total length of the picture */
  uint32_t receivedLength; /**< The remaining length of the picture */
  uint8_t blockSize; /**< The length of the callback function transmission */
  uint8_t cameraId;  /**< Model of camera module */
  uint8_t cameraDataFormat; /**< The currently set image pixel format */
  uint8_t burstFirstFlag;   /**< Flag bit for reading data for the first time in
                               burst mode */
  uint8_t previewMode;      /**< Stream mode flag */
  uint8_t currentPixelFormat; /**< The currently set image pixel format */
  uint8_t currentPictureMode; /**< Currently set resolution */
  struct camera_info
      myCameraInfo; /**< Basic information of the current camera */
  const struct CameraOperations
      *arducamCameraOp;             /**< Camera function interface */
  BUFFER_CALLBACK callBackFunction; /**< Camera callback function */
};

struct arducam_mega_config {
  struct gpio_dt_spec gpio_dt;
  struct spi_dt_spec spi_dt;
  struct spi_config spi_cfg;
  CAM_IMAGE_MODE resolution;
};

int arducam_mega_init();
int arducam_mega_capture_image(CAM_IMAGE_MODE mode,
                               CAM_IMAGE_PIX_FMT pixel_format);
int arducam_mega_save_image(char *filename, const char *mount_point,
                            int image_length);
int arducam_mega_get_id();
CAM_IMAGE_MODE arducam_mega_get_resolution(char *resolution);

CAM_SATURATION_LEVEL arducam_mega_get_saturation(char *saturation);
CAM_CONTRAST_LEVEL arducam_mega_get_contrast(char *contrast);
CAM_BRIGHTNESS_LEVEL arducam_mega_get_brightness(char *brightness);

int arducam_mega_set_saturation(CAM_SATURATION_LEVEL saturation);
int arducam_mega_set_contrast(CAM_CONTRAST_LEVEL contrast);
int arducam_mega_set_brightness(CAM_BRIGHTNESS_LEVEL brightness);
int arducam_mega_set_autofocus(CAM_AUTO_FOCUS autofocus);
uint8_t camera_read_byte();
int arducam_mega_print_info();

#endif /* __ARDUCAM_MEGA_H__ */
```

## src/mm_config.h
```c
#ifndef MM_CONFIG_H
#define MM_CONFIG_H

/**
 * \brief WIFI SSID
 */
#define SSID "SSID"
/**
 * \brief WIFI PSK
 */
#define PSK "WLAN PASSWORT"

/**
 * \brief SNTP Server Name
 */
#define SNTP_SERVER_FQDN "ptbtime1.ptb.de"
/**
 * \brief SNTP Server IP
 */
#define SNTP_SERVER_IP "192.53.103.108"

/**
 * MQTT Port Number
 */
#define MQTT_CONNECT_TIMEOUT_MS 2000
#define MQTT_SLEEP_MSECS 500
#define MQTT_CONNECT_TRIES 4
#define MQTT_BUFFER_SIZE 1024
#define MQTT_CLIENTID "zephyr"
#define MQTT_SERVER_FQDN "zapdos.eit.htwk-leipzig.de"
#define MQTT_SERVER_ADDR "141.57.24.186"
#define MQTT_SERVER_PORT 8883

#define MQTT_USERNAME "MQTT BENUTZER"
#define MQTT_PASSWD "MQTT PASSWORT"

#define CONFIG_NET_SAMPLE_APP_MAX_ITERATIONS 1
#define CONFIG_NET_SAMPLE_APP_MAX_CONNECTIONS 1

#endif // !CONFIG_H
```

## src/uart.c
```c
#include <zephyr/device.h>
#include <zephyr/drivers/uart.h>
#include <zephyr/kernel.h>

#include "uart.h"
#include <string.h>

// VICTRON UART
#define UART_DEVICE_NODE DT_NODELABEL(uart5)

#define MSG_SIZE 32

/* queue to store up to 10 messages (aligned to 4-byte boundary) */
K_MSGQ_DEFINE(uart_msgq, MSG_SIZE, 20, 4);

static const struct device *const uart_dev = DEVICE_DT_GET(UART_DEVICE_NODE);

/* receive buffer used in UART ISR callback */
static char rx_buf[MSG_SIZE];
static int rx_buf_pos;

/*
 * Read characters from UART until line end is detected. Afterwards push the
 * data to the message queue.
 */
void serial_cb(const struct device *dev, void *user_data) {
  uint8_t c;

  if (!uart_irq_update(uart_dev)) {
    return;
  }

  if (!uart_irq_rx_ready(uart_dev)) {
    return;
  }

  /* read until FIFO empty */
  while (uart_fifo_read(uart_dev, &c, 1) == 1) {
    if ((c == '\n' || c == '\r') && rx_buf_pos > 0) {
      /* terminate string */
      rx_buf[rx_buf_pos] = '\0';

      /* if queue is full, message is silently dropped */
      k_msgq_put(&uart_msgq, &rx_buf, K_NO_WAIT);

      /* reset the buffer (it was copied to the msgq) */
      rx_buf_pos = 0;
    } else if (rx_buf_pos < (sizeof(rx_buf) - 1)) {
      rx_buf[rx_buf_pos++] = c;
    }
    /* else: characters beyond buffer size are dropped */
  }
}

/*
 * Print a null-terminated string character by character to the UART interface
 */
void print_uart(char *buf) { printk("%s", buf); }

char *uart_main(char *buff, size_t buffer_size) {
  char tx_buf[MSG_SIZE];

  if (!device_is_ready(uart_dev)) {
    printk("UART device not found!");
    return 0;
  }

  /* configure interrupt and callback to receive data */
  int ret = uart_irq_callback_user_data_set(uart_dev, serial_cb, NULL);

  if (ret < 0) {
    if (ret == -ENOTSUP) {
      printk("Interrupt-driven UART API support not enabled\n");
    } else if (ret == -ENOSYS) {
      printk("UART device does not support interrupt-driven API\n");
    } else {
      printk("Error setting UART callback: %d\n", ret);
    }
    return 0;
  }
  uart_irq_rx_enable(uart_dev);
  printk("uart enabled, reading victron messages\n");

  // Wait for full message queue and disable interrupts
  while (k_msgq_num_free_get(&uart_msgq) > 0) {
    k_sleep(K_MSEC(200));
  };
  uart_irq_rx_disable(uart_dev);
  strcat(buff, "{\n");

  /* indefinitely wait for input from the user */
  while (k_msgq_get(&uart_msgq, &tx_buf, K_MSEC(30)) == 0) {
    char *occurrence = strstr(tx_buf, "PID:");
    if (occurrence == NULL) {
      continue;
    } else {
      printk("%s", tx_buf);
      strcat(buff, tx_buf);
      break;
    };
  }
  while (k_msgq_get(&uart_msgq, &tx_buf, K_MSEC(30)) == 0) {
    char *occurrence = strstr(tx_buf, "Checksum");
    strcat(buff, tx_buf);
    if (occurrence == NULL) {
      continue;
    } else {
      break;
    };
  }
  return buff;
}
```

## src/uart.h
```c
char *uart_main(char *buff, size_t buff_size);
```
